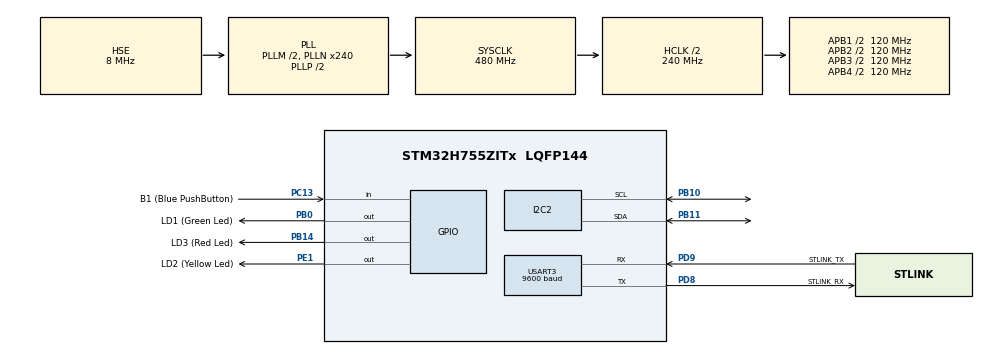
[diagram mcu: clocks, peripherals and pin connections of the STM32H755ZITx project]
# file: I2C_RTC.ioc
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CortexM4.IPs=BDMA,CORTEX_M4\:I,DEBUG,DMA,FATFS_M4\:I,FREERTOS_M4\:I,GPIO,IWDG2\:I,MDMA,NVIC2\:I,OPENAMP_M4\:I,PDM2PCM_M4\:I,PWR,RCC,RESMGR_UTILITY,SYS_M4\:I,USB_DEVICE_M4\:I,USB_HOST_M4\:I,VREFBUF,WWDG2\:I,USART3
CortexM4.Pins=PE1
CortexM7.IPs=BDMA\:I,CORTEX_M7\:I,DEBUG\:I,DMA\:I,FATFS_M7\:I,FREERTOS_M7\:I,GPIO\:I,IWDG1\:I,MDMA\:I,NVIC1\:I,OPENAMP_M7\:I,PDM2PCM_M7\:I,PWR\:I,RCC\:I,RESMGR_UTILITY\:I,SYS\:I,USB_DEVICE_M7\:I,USB_HOST_M7\:I,VREFBUF\:I,WWDG1\:I,USART3\:I,I2C2\:I
CortexM7.Pins=PC13,PB0,PB14
I2C2.Timing=0x307075B1
Mcu.Family=STM32H7
Mcu.Name=STM32H755ZITx
Mcu.Package=LQFP144
NVIC1.PriorityGroup=NVIC_PRIORITYGROUP_4
NVIC2.PriorityGroup=NVIC_PRIORITYGROUP_4
PB0.GPIO_Label=LD1 (Green Led)
PB0.PinAttribute=CortexM7
PB0.Signal=GPIO_Output
PB10.Mode=I2C
PB10.PinAttribute=CortexM7
PB10.Signal=I2C2_SCL
PB11.Mode=I2C
PB11.PinAttribute=CortexM7
PB11.Signal=I2C2_SDA
PB14.GPIO_Label=LD3 (Red Led)
PB14.PinAttribute=CortexM7
PB14.Signal=GPIO_Output
PC13.GPIO_Label=B1 (Blue PushButton)
PC13.PinAttribute=CortexM7
PC13.Signal=GPIO_Input
PC14-OSC32_IN\ (OSC32_IN).Mode=LSE-External-Oscillator
PC14-OSC32_IN\ (OSC32_IN).PinAttribute=CortexM7
PC14-OSC32_IN\ (OSC32_IN).Signal=RCC_OSC32_IN
PC15-OSC32_OUT\ (OSC32_OUT).Mode=LSE-External-Oscillator
PC15-OSC32_OUT\ (OSC32_OUT).PinAttribute=CortexM7
PC15-OSC32_OUT\ (OSC32_OUT).Signal=RCC_OSC32_OUT
PD8.GPIO_Label=STLINK_RX
PD8.Mode=Asynchronous
PD8.PinAttribute=CortexM7
PD8.Signal=USART3_TX
PD9.GPIO_Label=STLINK_TX
PD9.Mode=Asynchronous
PD9.PinAttribute=CortexM7
PD9.Signal=USART3_RX
PE1.GPIO_Label=LD2 (Yellow Led)
PE1.PinAttribute=CortexM4
PE1.Signal=GPIO_Output
PH0-OSC_IN\ (PH0).Mode=HSE-External-Clock-Source
PH0-OSC_IN\ (PH0).PinAttribute=CortexM7
PH0-OSC_IN\ (PH0).Signal=RCC_OSC_IN
ProjectManager.HeapSize=M4-0x200,M7-0x200
ProjectManager.StackSize=M4-0x400,M7-0x400
ProjectManager.TargetToolchain=STM32CubeIDE
RCC.ADCFreq_Value=16125000
RCC.APB1Freq_Value=120000000
RCC.APB2Freq_Value=120000000
RCC.APB3Freq_Value=120000000
RCC.APB4Freq_Value=120000000
RCC.CortexFreq_Value=480000000
RCC.D1PPRE=RCC_APB3_DIV2
RCC.D2PPRE1=RCC_APB1_DIV2
RCC.D2PPRE2=RCC_APB2_DIV2
RCC.D3PPRE=RCC_APB4_DIV2
RCC.DIVM1=2
RCC.DIVN1=240
RCC.HCLKFreq_Value=240000000
RCC.HPRE=RCC_HCLK_DIV2
RCC.HSE_VALUE=8000000
RCC.PLLSourceVirtual=RCC_PLLSOURCE_HSE
RCC.SYSCLKFreq_VALUE=480000000
RCC.SYSCLKSource=RCC_SYSCLKSOURCE_PLLCLK
RCC.USBFreq_Value=480000000
USART3.BaudRate=9600
USART3.VirtualMode-Asynchronous=VM_ASYNC
board=custom

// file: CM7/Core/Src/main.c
/* USER CODE BEGIN Header */
/**
  ****************************************************************************
  * @file           : main.c
  * @brief          : Main program body
  ****************************************************************************
  * @attention
  *
  * Copyright (c) 2023 STMicroelectronics.
  * All rights reserved.
  *
  * This software is licensed under terms that can be found in the LICENSE file
  * in the root directory of this software component.
  * If no LICENSE file comes with this software, it is provided AS-IS.
  *
  ****************************************************************************
  */
/* USER CODE END Header */
#include "main.h"
#include "myprintf.h"

/* USER CODE BEGIN PD */

#ifndef HSEM_ID_0
#define HSEM_ID_0 (0U) /* HW semaphore 0*/
#endif
/* USER CODE END PD */

I2C_HandleTypeDef hi2c2;

UART_HandleTypeDef huart3;

void SystemClock_Config(void);
static void MX_GPIO_Init(void);
static void MX_USART3_UART_Init(void);
static void MX_I2C2_Init(void);

int main(void)
{
/* USER CODE BEGIN Boot_Mode_Sequence_0 */
  int32_t timeout;
/* USER CODE END Boot_Mode_Sequence_0 */

/* USER CODE BEGIN Boot_Mode_Sequence_1 */
  /* Wait until CPU2 boots and enters in stop mode or timeout*/
  timeout = 0xFFFF;
  while((__HAL_RCC_GET_FLAG(RCC_FLAG_D2CKRDY) != RESET) && (timeout-- > 0));
  if ( timeout < 0 )
  {
  Error_Handler();
  }
/* USER CODE END Boot_Mode_Sequence_1 */
  /* MCU Configuration--------------------------------------------------------*/

  /* Reset of all peripherals, Initializes the Flash interface and the Systick. */
  HAL_Init();

  /* Configure the system clock */
  SystemClock_Config();
/* USER CODE BEGIN Boot_Mode_Sequence_2 */
/* When system initialization is finished, Cortex-M7 will release Cortex-M4 by means of
HSEM notification */
/*HW semaphore Clock enable*/
__HAL_RCC_HSEM_CLK_ENABLE();
/*Take HSEM */
HAL_HSEM_FastTake(HSEM_ID_0);
/*Release HSEM in order to notify the CPU2(CM4)*/
HAL_HSEM_Release(HSEM_ID_0,0);
/* wait until CPU2 wakes up from stop mode */
timeout = 0xFFFF;
while((__HAL_RCC_GET_FLAG(RCC_FLAG_D2CKRDY) == RESET) && (timeout-- > 0));
if ( timeout < 0 )
{
Error_Handler();
}
/* USER CODE END Boot_Mode_Sequence_2 */

  /* Initialize all configured peripherals */
  MX_GPIO_Init();
  MX_USART3_UART_Init();
  MX_I2C2_Init();

  /* USER CODE BEGIN 2 */

  uint16_t SlaveAddress = 0b1101000;
  uint16_t RegPointer = 0x00;
  uint8_t RegPointerA = 0x00;
  uint8_t RegPointerH = 0x02;
  uint8_t RegPointerM = 0x01;

  uint16_t MinutesReg = 0x01;
  uint8_t Minutes = 0x03;

  //Registros en Fotmato BCD
  uint8_t TransmitBuffer[] = {0b00000000, 0b00100100, 0b01100010, 0b00000000, 0b00100000, 0b00001001, 0b00100011};
  //                         {Segundos,   Minutos,    Horas,      Dia(1-7),   Dia(1-31),  Mes,        Año       };
  //                         {0 seg,      24 min,     2  PM,      0,          20,         Septiembre, 23        };

  uint8_t Buff[7];
  uint8_t BuffH;

  /* USER CODE END 2 *

  /* Infinite loop */
  /* USER CODE BEGIN WHILE */

  HAL_I2C_Mem_Write(&hi2c2, SlaveAddress<<1, RegPointer, 1, TransmitBuffer, 7, 0xFFFFFFFF);

  //Para escrbir 0x03 en el registro de minutos
  //----------------------------------------------------------------------------------------
  //HAL_I2C_Mem_Write(&hi2c2, SlaveAddress<<1, MinutesReg, 1, Minutes, 1, 0xFFFFFFFF);
  //----------------------------------------------------------------------------------------

  while (1)
  {
	  //Size es el numero de datos que se van a mandar

	  //Apuntar a registro 0x00. El primer byte despues del slave address es tomado como el apuntador de registros.
	  HAL_I2C_Master_Transmit(&hi2c2, SlaveAddress<<1, &RegPointerA, 1, 0xFFFFFFFF);

	  //Escribir los datos en los registros. Con cada byte transmitido, el apuntador de registros aumenta por uno.
	  HAL_I2C_Master_Receive(&hi2c2, SlaveAddress<<1, Buff, 7, 0xFFFFFFFF);

	  printf("%d%d : %d%d : %d%d", ((Buff[2] >> 4) & 0x01), (Buff[2] & 0x0F),
				                   ((Buff[1] >> 4)),        (Buff[1] & 0x0F),
								   ((Buff[0] >> 4)),        (Buff[0] & 0x0F));

	  if((Buff[2] & 0x20) == 0x20){
		  printf(" PM   ");
	  }else{
		  printf(" AM   ");
	  }

	  printf("%d%d/%d%d/20%d%d\n\r", ((Buff[4] >> 4)), (Buff[4] & 0x0F),
	  							     ((Buff[5] >> 4)), (Buff[5] & 0x0F),
	  							     ((Buff[6] >> 4)), (Buff[6] & 0x0F));

	  //Desplegar solamente las horas para observar el paquete en el osciloscopio
	  //----------------------------------------------------------------------------------------
	  /*
	  HAL_I2C_Master_Transmit(&hi2c2, SlaveAddress<<1, &RegPointerH, 1, 0xFFFFFFFF);
	  HAL_I2C_Master_Receive(&hi2c2, SlaveAddress<<1, &BuffH, 1, 0xFFFFFFFF);

	  printf("Hora: %d%d", ((BuffH >> 4) & 0x01), (BuffH & 0x0F));

	  if((BuffH & 0x20) == 0x20){
		  printf(" PM\n\r");
	  }else{
		  printf(" AM\n\r");
	  }
	  */
	  //----------------------------------------------------------------------------------------

	  //Desplegar solamente los minutos empezando desde 0x03
	  //----------------------------------------------------------------------------------------
	  /*
	  HAL_I2C_Master_Transmit(&hi2c2, SlaveAddress<<1, &RegPointerM, 1, 0xFFFFFFFF);
	  HAL_I2C_Master_Receive(&hi2c2, SlaveAddress<<1, &BuffH, 1, 0xFFFFFFFF);

	  printf("Minutos: %d%d", (BuffH >> 4), (BuffH & 0x0F));
	  */
	  //----------------------------------------------------------------------------------------

	  //Desplegar solamente los segundos
	  //----------------------------------------------------------------------------------------
	  /*
	  HAL_I2C_Master_Transmit(&hi2c2, SlaveAddress<<1, &RegPointerA, 1, 0xFFFFFFFF);
	  HAL_I2C_Master_Receive(&hi2c2, SlaveAddress<<1, &BuffH, 1, 0xFFFFFFFF);

	  printf("Segundos: %d%d\n\r", (BuffH >> 4), (BuffH & 0x0F));
	  */
	  //----------------------------------------------------------------------------------------

	  HAL_Delay(100);

    /* USER CODE END WHILE */

  }
}

void SystemClock_Config(void)
{
  RCC_OscInitTypeDef RCC_OscInitStruct = {0};
  RCC_ClkInitTypeDef RCC_ClkInitStruct = {0};

  /** Supply configuration update enable
  */
  HAL_PWREx_ConfigSupply(PWR_DIRECT_SMPS_SUPPLY);

  /** Configure the main internal regulator output voltage
  */
  __HAL_PWR_VOLTAGESCALING_CONFIG(PWR_REGULATOR_VOLTAGE_SCALE0);

  while(!__HAL_PWR_GET_FLAG(PWR_FLAG_VOSRDY)) {}

  /** Initializes the RCC Oscillators according to the specified parameters
  * in the RCC_OscInitTypeDef structure.
  */
  RCC_OscInitStruct.OscillatorType = RCC_OSCILLATORTYPE_HSE;
  RCC_OscInitStruct.HSEState = RCC_HSE_BYPASS;
  RCC_OscInitStruct.PLL.PLLState = RCC_PLL_ON;
  RCC_OscInitStruct.PLL.PLLSource = RCC_PLLSOURCE_HSE;
  RCC_OscInitStruct.PLL.PLLM = 2;
  RCC_OscInitStruct.PLL.PLLN = 240;
  RCC_OscInitStruct.PLL.PLLP = 2;
  RCC_OscInitStruct.PLL.PLLQ = 2;
  RCC_OscInitStruct.PLL.PLLR = 2;
  RCC_OscInitStruct.PLL.PLLRGE = RCC_PLL1VCIRANGE_2;
  RCC_OscInitStruct.PLL.PLLVCOSEL = RCC_PLL1VCOWIDE;
  RCC_OscInitStruct.PLL.PLLFRACN = 0;
  if (HAL_RCC_OscConfig(&RCC_OscInitStruct) != HAL_OK)
  {
    Error_Handler();
  }

  /** Initializes the CPU, AHB and APB buses clocks
  */
  RCC_ClkInitStruct.ClockType = RCC_CLOCKTYPE_HCLK|RCC_CLOCKTYPE_SYSCLK
                              |RCC_CLOCKTYPE_PCLK1|RCC_CLOCKTYPE_PCLK2
                              |RCC_CLOCKTYPE_D3PCLK1|RCC_CLOCKTYPE_D1PCLK1;
  RCC_ClkInitStruct.SYSCLKSource = RCC_SYSCLKSOURCE_PLLCLK;
  RCC_ClkInitStruct.SYSCLKDivider = RCC_SYSCLK_DIV1;
  RCC_ClkInitStruct.AHBCLKDivider = RCC_HCLK_DIV2;
  RCC_ClkInitStruct.APB3CLKDivider = RCC_APB3_DIV2;
  RCC_ClkInitStruct.APB1CLKDivider = RCC_APB1_DIV2;
  RCC_ClkInitStruct.APB2CLKDivider = RCC_APB2_DIV2;
  RCC_ClkInitStruct.APB4CLKDivider = RCC_APB4_DIV2;

  if (HAL_RCC_ClockConfig(&RCC_ClkInitStruct, FLASH_LATENCY_4) != HAL_OK)
  {
    Error_Handler();
  }
}

static void MX_I2C2_Init(void)
{

  hi2c2.Instance = I2C2;
  hi2c2.Init.Timing = 0x307075B1;
  hi2c2.Init.OwnAddress1 = 0;
  hi2c2.Init.AddressingMode = I2C_ADDRESSINGMODE_7BIT;
  hi2c2.Init.DualAddressMode = I2C_DUALADDRESS_DISABLE;
  hi2c2.Init.OwnAddress2 = 0;
  hi2c2.Init.OwnAddress2Masks = I2C_OA2_NOMASK;
  hi2c2.Init.GeneralCallMode = I2C_GENERALCALL_DISABLE;
  hi2c2.Init.NoStretchMode = I2C_NOSTRETCH_DISABLE;
  if (HAL_I2C_Init(&hi2c2) != HAL_OK)
  {
    Error_Handler();
  }

  /** Configure Analogue filter
  */
  if (HAL_I2CEx_ConfigAnalogFilter(&hi2c2, I2C_ANALOGFILTER_ENABLE) != HAL_OK)
  {
    Error_Handler();
  }

  /** Configure Digital filter
  */
  if (HAL_I2CEx_ConfigDigitalFilter(&hi2c2, 0) != HAL_OK)
  {
    Error_Handler();
  }

}

static void MX_USART3_UART_Init(void)
{

  huart3.Instance = USART3;
  huart3.Init.BaudRate = 9600;
  huart3.Init.WordLength = UART_WORDLENGTH_8B;
  huart3.Init.StopBits = UART_STOPBITS_1;
  huart3.Init.Parity = UART_PARITY_NONE;
  huart3.Init.Mode = UART_MODE_TX_RX;
  huart3.Init.HwFlowCtl = UART_HWCONTROL_NONE;
  huart3.Init.OverSampling = UART_OVERSAMPLING_16;
  huart3.Init.OneBitSampling = UART_ONE_BIT_SAMPLE_DISABLE;
  huart3.Init.ClockPrescaler = UART_PRESCALER_DIV1;
  huart3.AdvancedInit.AdvFeatureInit = UART_ADVFEATURE_NO_INIT;
  if (HAL_UART_Init(&huart3) != HAL_OK)
  {
    Error_Handler();
  }
  if (HAL_UARTEx_SetTxFifoThreshold(&huart3, UART_TXFIFO_THRESHOLD_1_8) != HAL_OK)
  {
    Error_Handler();
  }
  if (HAL_UARTEx_SetRxFifoThreshold(&huart3, UART_RXFIFO_THRESHOLD_1_8) != HAL_OK)
  {
    Error_Handler();
  }
  if (HAL_UARTEx_DisableFifoMode(&huart3) != HAL_OK)
  {
    Error_Handler();
  }

}

static void MX_GPIO_Init(void)
{

  /* GPIO Ports Clock Enable */
  __HAL_RCC_GPIOC_CLK_ENABLE();
  __HAL_RCC_GPIOH_CLK_ENABLE();
  __HAL_RCC_GPIOB_CLK_ENABLE();
  __HAL_RCC_GPIOD_CLK_ENABLE();

}

void Error_Handler(void)
{
  __disable_irq();
  while (1)
  {
  }
}
